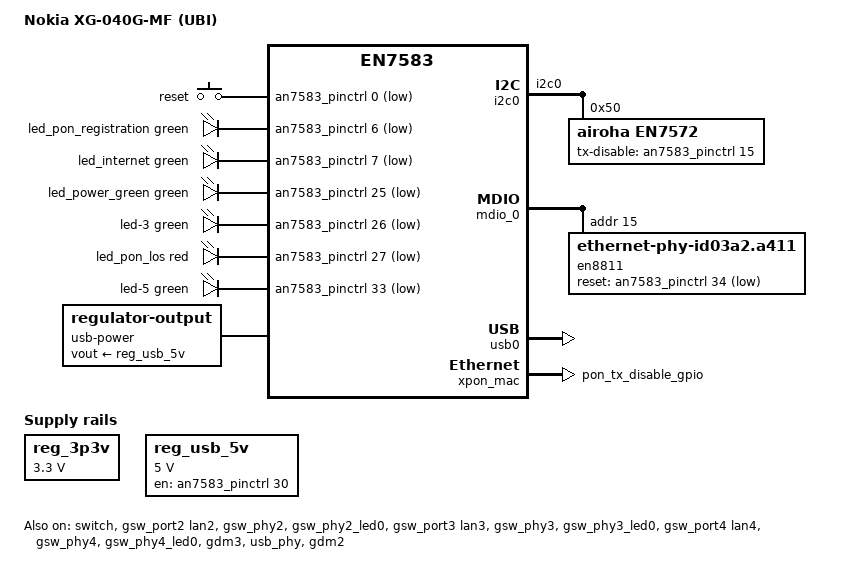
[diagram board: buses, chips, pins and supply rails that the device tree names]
// SPDX-License-Identifier: GPL-2.0-only OR MIT

/dts-v1/;
#include <dt-bindings/leds/common.h>
#include <dt-bindings/gpio/gpio.h>
#include <dt-bindings/input/input.h>
#include "an7583.dtsi"
#include "an758x-nokia_xg-040g-common.dtsi"
#include "an758x-nokia_xg-040g-ubi-parts.dtsi"

/ {
	model = "Nokia XG-040G-MF (UBI)";
	compatible = "nokia,xg-040g-mf-ubi", "airoha,an7583", "airoha,en7583";

	aliases {
		/* Expose optical calibration through a stable NVMEM node. */
		pon-calibration = &pon_calibration_storage;
	};

	gpio-keys {
		compatible = "gpio-keys";

		button-0 {
			label = "reset";
			linux,code = <KEY_RESTART>;
			gpios = <&an7583_pinctrl 0 GPIO_ACTIVE_LOW>;
			debounce-interval = <60>;
		};
	};

	leds {
		compatible = "gpio-leds";

		led_pon_registration: led-0 {
			color = <LED_COLOR_ID_GREEN>;
			function = LED_FUNCTION_WAN;
			gpios = <&an7583_pinctrl 6 GPIO_ACTIVE_LOW>;
			/* Registration maps O1-O3 to fast blink, O4 to slow blink, and O5 on. */
			linux,default-trigger = "pon0-registration";
		};

		led_internet: led-1 {
			color = <LED_COLOR_ID_GREEN>;
			function = LED_FUNCTION_WAN_ONLINE;
			gpios = <&an7583_pinctrl 7 GPIO_ACTIVE_LOW>;
			/* pon0 service-ready state drives the Internet LED. */
			linux,default-trigger = "pon0-online";
		};

		led_power_green: led-2 {
			color = <LED_COLOR_ID_GREEN>;
			function = LED_FUNCTION_POWER;
			gpios = <&an7583_pinctrl 25 GPIO_ACTIVE_LOW>;
			panic-indicator;
		};

		led-3 {
			color = <LED_COLOR_ID_GREEN>;
			function = LED_FUNCTION_USB;
			function-enumerator = <1>;
			gpios = <&an7583_pinctrl 26 GPIO_ACTIVE_LOW>;
			linux,default-trigger = "usbport";
			trigger-sources = <&usb_port1>;
		};

		led_pon_los: led-4 {
			color = <LED_COLOR_ID_RED>;
			function = LED_FUNCTION_WAN;
			gpios = <&an7583_pinctrl 27 GPIO_ACTIVE_LOW>;
			/* The LOS LED follows optical signal loss. */
			linux,default-trigger = "pon0-los";
		};

		led-5 {
			color = <LED_COLOR_ID_GREEN>;
			function = LED_FUNCTION_USB;
			function-enumerator = <2>;
			gpios = <&an7583_pinctrl 33 GPIO_ACTIVE_LOW>;
			linux,default-trigger = "usbport";
			trigger-sources = <&usb_port2>;
		};
	};

	reg_3p3v: regulator-3p3v {
		compatible = "regulator-fixed";
		regulator-always-on;
		regulator-boot-on;
		regulator-max-microvolt = <3300000>;
		regulator-min-microvolt = <3300000>;
		regulator-name = "fixed-3.3V";
	};

	reg_usb_5v: regulator-usb-5v {
		compatible = "regulator-fixed";
		enable-active-high;
		gpio = <&an7583_pinctrl 30 GPIO_ACTIVE_HIGH>;
		regulator-boot-on;
		regulator-max-microvolt = <5000000>;
		regulator-min-microvolt = <5000000>;
		regulator-name = "usb-5v";
	};

	/*
	 * Controls both USB ports at once
	 */
	usb-power {
		compatible = "regulator-output";
		vout-supply = <&reg_usb_5v>;
	};
};

&an7583_pinctrl {
	gpio-ranges = <&an7583_pinctrl 0 2 53>;

	/*
	 * MF uses the primary AN7583 PON pinout with GPIO15 as TX_DISABLE.
	 * The optical frontend owns GPIO15 while pinctrl owns the other signals.
	 */
	pon_pins: pon-pins {
		mux {
			function = "pon";
			groups = "pon_tx_disable_gpio";
		};
	};

	mdio0_pins: mdio0-pins {
		mux {
			function = "mdio";
			groups = "mdio";
		};
		conf {
			pins = "mdio_0";
			output-high;
		};
	};

	/*
	 * AN7583 multiplexes I2C0 SCL and SDA with GPIO. Selecting this pin group
	 * routes the dedicated I2C0 pins to optical frontend windows 0x50 and 0x51.
	 */
	i2c0_pins: i2c0-pins {
		mux {
			function = "i2c";
			groups = "i2c0";
		};
	};

	spi_pins: spi-pins {
		mux {
			function = "spi";
			groups = "spi";
		};
	};

	pcie0_rst_pins: pcie0-rst-pins {
		conf {
			pins = "pcie_reset0";
			drive-open-drain = <1>;
		};
	};

	pcie1_rst_pins: pcie1-rst-pins {
		conf {
			pins = "pcie_reset1";
			drive-open-drain = <1>;
		};
	};

	gswp1_led0_pins: gswp1-led0-pins {
		mux {
			function = "phy1_led0";
			pins = "gpio1";
		};
	};

	gswp2_led0_pins: gswp2-led0-pins {
		mux {
			function = "phy2_led0";
			pins = "gpio2";
		};
	};

	gswp3_led0_pins: gswp3-led0-pins {
		mux {
			function = "phy3_led0";
			pins = "gpio3";
		};
	};

	gswp4_led0_pins: gswp4-led0-pins {
		mux {
			function = "phy4_led0";
			pins = "gpio4";
		};
	};
};

&i2c0 {
	pinctrl-names = "default";
	pinctrl-0 = <&i2c0_pins>;

	/*
	 * Window 0x50 loads MD32 and 0x51 provides runtime access.
	 * GPIO15 high disables optical transmission.
	 */
	en7572: optical-front-end@50 {
		compatible = "airoha,en7572";
		reg = <0x50>;

		/* Logical high keeps optical transmission disabled during probe. */
		tx-disable-gpios = <&an7583_pinctrl 15 GPIO_ACTIVE_HIGH>;

		/* The 512 bytes after the bosa header contain per-device optical data. */
		nvmem-cells = <&pon_calibration>;
		nvmem-cell-names = "calibration";
	};
};

&snfi {
	pinctrl-names = "default";
	pinctrl-0 = <&spi_pins>;
};

&mdio_0 {
	/* Airoha EN8811 2.5Gbps phy */
	en8811: ethernet-phy@f {
		compatible = "ethernet-phy-id03a2.a411";
		reg = <0xf>;

		reset-gpios = <&an7583_pinctrl 34 GPIO_ACTIVE_LOW>;
		reset-assert-us = <10000>;
		reset-deassert-us = <20000>;

		leds {
			#address-cells = <1>;
			#size-cells = <0>;

			led-0 {
				reg = <0>;
				color = <LED_COLOR_ID_GREEN>;
				function = LED_FUNCTION_LAN;
				function-enumerator = <1>;
				default-state = "keep";
			};
		};
	};
};

&switch {
	status = "okay";

	pinctrl-names = "default";
	pinctrl-0 = <&mdio0_pins>;
};

&gsw_port2 {
	status = "okay";

	label = "lan2";
};

&gsw_phy2 {
	status = "okay";

	interrupts = <2>;

	pinctrl-names = "gbe-led";
	pinctrl-0 = <&gswp2_led0_pins>;
};

&gsw_phy2_led0 {
	status = "okay";

	color = <LED_COLOR_ID_GREEN>;
	active-low;
};

&gsw_port3 {
	status = "okay";

	label = "lan3";
};

&gsw_phy3 {
	status = "okay";

	interrupts = <3>;

	pinctrl-names = "gbe-led";
	pinctrl-0 = <&gswp3_led0_pins>;
};

&gsw_phy3_led0 {
	status = "okay";

	color = <LED_COLOR_ID_GREEN>;
	active-low;
};

&gsw_port4 {
	status = "okay";

	label = "lan4";
};

&gsw_phy4 {
	status = "okay";

	interrupts = <4>;

	pinctrl-names = "gbe-led";
	pinctrl-0 = <&gswp4_led0_pins>;
};

&gsw_phy4_led0 {
	status = "okay";

	color = <LED_COLOR_ID_GREEN>;
	active-low;
};

&gdm3 {
	status = "okay";

	openwrt,netdev-name = "lan1";

	phy-handle = <&en8811>;
	phy-mode = "2500base-x";

	nvmem-cell-names = "mac-address";
	nvmem-cells = <&macaddr_factory_3e (0)>;
};

&usb_phy {
	status = "okay";
};

&usb0 {
	status = "okay";

	vusb33-supply = <&reg_3p3v>;

	#address-cells = <1>;
	#size-cells = <0>;

	usb_port1: port@1 {
		reg = <1>;
		#trigger-source-cells = <0>;
	};

	usb_port2: port@2 {
		reg = <2>;
		#trigger-source-cells = <0>;
	};
};

&xpon_mac {
	pinctrl-names = "default";
	pinctrl-0 = <&pon_pins>;
	optical-front-end = <&en7572>;
	nvmem-cells = <&pon_serial>;
	nvmem-cell-names = "pon-serial";
	/* data-path references the GDM carrying service GEM traffic. */
	data-path = <&gdm2>;
	status = "okay";
};

&gdm2 {
	/* GDM2 carries the PON GEM data plane on AN7581 and AN7583. */
	airoha,pon-data-path;
	/* WAN uses the eth0 MAC stored at RI offset 0x3e. */
	nvmem-cell-names = "mac-address";
	nvmem-cells = <&macaddr_factory_3e 0>;
	status = "okay";
};
